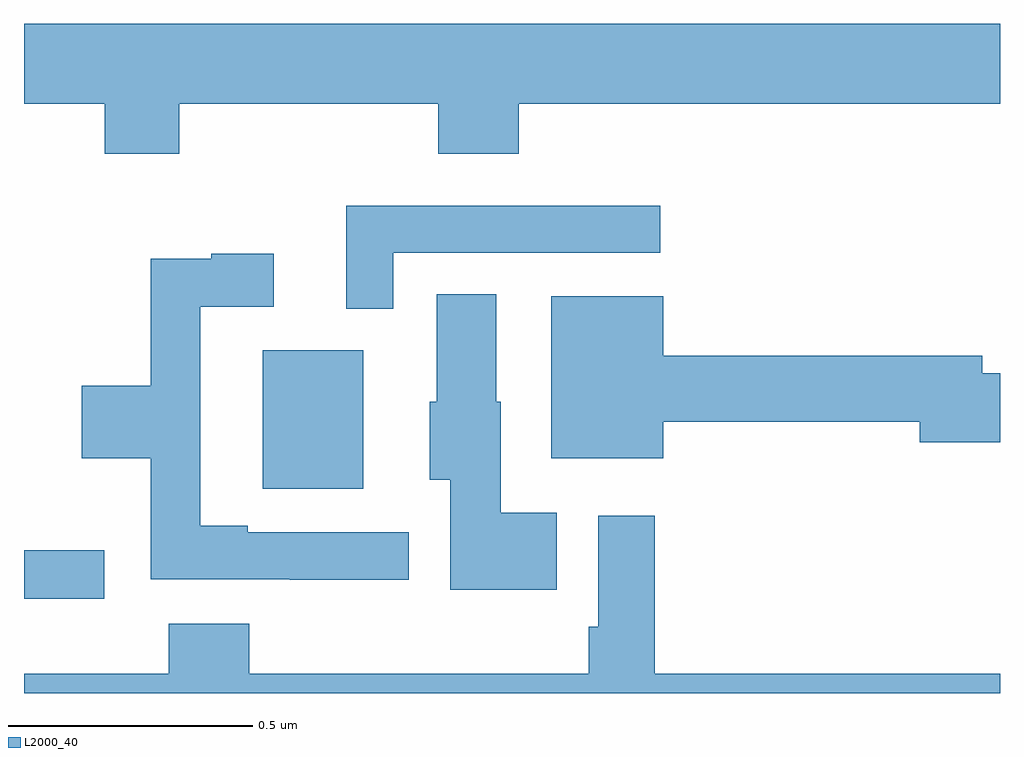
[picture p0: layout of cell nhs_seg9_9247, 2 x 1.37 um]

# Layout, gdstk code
import gdstk
lib = gdstk.Library(unit=1e-6, precision=1e-09)
def R(c, l, rs):  # rectangles x0, y0, x1, y1
    for r in rs: c.add(gdstk.rectangle(r[:2], r[2:], *l))
def P(c, l, *ps):  # polygons
    for p in ps: c.add(gdstk.Polygon(p, *l))
L2000_40 = (2000, 40)

nhs_seg9_9247 = lib.new_cell('nhs_seg9_9247')
R(nhs_seg9_9247, L2000_40, [(227,1240.694,227.164,1240.793), (227.489,1240.919,227.695,1241.203)])
P(nhs_seg9_9247, L2000_40, [(227,1241.708),(227.165,1241.708),(227.165,1241.606),(227.318,1241.606),(227.318,1241.708),(227.849,1241.708),(227.849,1241.606),(228.014,1241.606),(228.014,1241.708),(229,1241.708),(229,1241.872),(227,1241.872)],
  [(227.757,1241.403),(228.304,1241.403),(228.304,1241.499),(227.66,1241.499),(227.66,1241.288),(227.757,1241.288)],
  [(227.788,1240.83),(227.458,1240.83),(227.458,1240.843),(227.361,1240.843),(227.361,1241.292),(227.512,1241.292),(227.512,1241.401),(227.384,1241.401),(227.384,1241.39),(227.26,1241.39),(227.26,1241.13),(227.118,1241.13),(227.118,1240.982),(227.26,1240.982),(227.26,1240.734),(227.545,1240.734),(227.545,1240.733),(227.788,1240.733)],
  [(228.092,1240.87),(227.977,1240.87),(227.977,1241.097),(227.968,1241.097),(227.968,1241.318),(227.846,1241.318),(227.846,1241.097),(227.831,1241.097),(227.831,1240.938),(227.873,1240.938),(227.873,1240.712),(228.092,1240.712)],
  [(228.31,1241.056),(228.836,1241.056),(228.836,1241.014),(229,1241.014),(229,1241.156),(228.964,1241.156),(228.964,1241.192),(228.31,1241.192),(228.31,1241.314),(228.08,1241.314),(228.08,1240.982),(228.31,1240.982)],
  [(229,1240.54),(228.293,1240.54),(228.293,1240.864),(228.177,1240.864),(228.177,1240.636),(228.157,1240.636),(228.157,1240.54),(227.462,1240.54),(227.462,1240.642),(227.297,1240.642),(227.297,1240.54),(227,1240.54),(227,1240.5),(229,1240.5)])

lib.write_gds('nhs_seg9_9247.gds')
